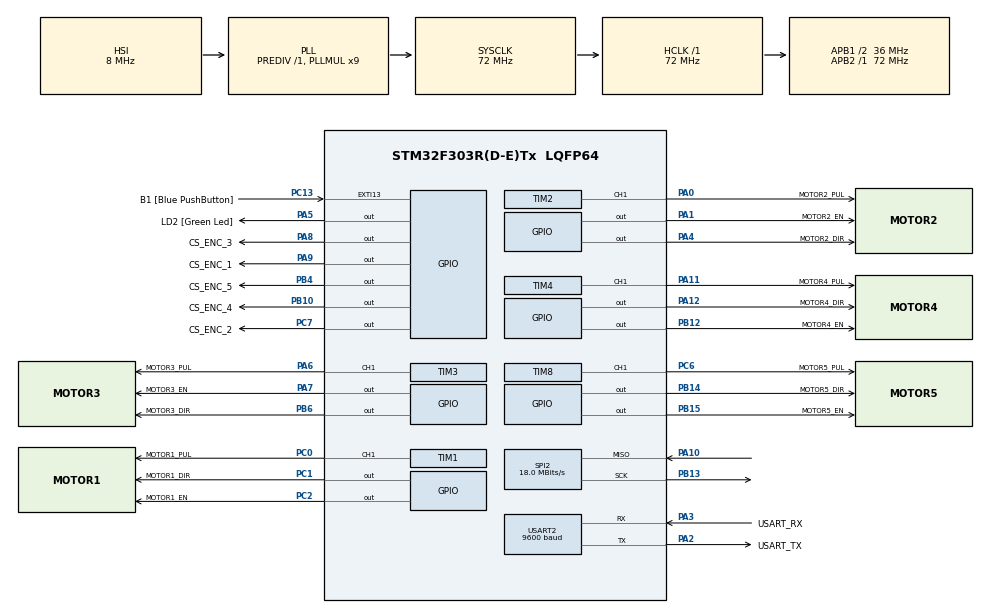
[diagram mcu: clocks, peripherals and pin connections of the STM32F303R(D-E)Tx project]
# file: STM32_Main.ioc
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Mcu.Family=STM32F3
Mcu.Name=STM32F303R(D-E)Tx
Mcu.Package=LQFP64
NVIC.PriorityGroup=NVIC_PRIORITYGROUP_0
NVIC.SPI2_IRQn=true\:0\:0\:false\:false\:true\:true\:true\:true
NVIC.TIM1_CC_IRQn=true\:0\:0\:false\:false\:true\:true\:true\:true
NVIC.TIM2_IRQn=true\:0\:0\:false\:false\:true\:true\:true\:true
NVIC.TIM3_IRQn=true\:0\:0\:false\:false\:true\:true\:true\:true
NVIC.TIM4_IRQn=true\:0\:0\:false\:false\:true\:true\:true\:true
NVIC.TIM8_CC_IRQn=true\:0\:0\:false\:false\:true\:true\:true\:true
NVIC.USART2_IRQn=true\:0\:0\:false\:false\:true\:true\:true\:true
PA0.GPIO_Label=MOTOR2_PUL
PA0.Signal=S_TIM2_CH1_ETR
PA1.GPIO_Label=MOTOR2_EN
PA1.Signal=GPIO_Output
PA10.Mode=RX_Only_Simplex_Unidirect_Master
PA10.Signal=SPI2_MISO
PA11.GPIO_Label=MOTOR4_PUL
PA11.Signal=S_TIM4_CH1
PA12.GPIO_Label=MOTOR4_DIR
PA12.Signal=GPIO_Output
PA14.GPIO_Label=TCK
PA14.Signal=SYS_JTCK-SWCLK
PA2.GPIO_Label=USART_TX
PA2.GPIO_Mode=GPIO_MODE_AF_PP
PA2.GPIO_PuPd=GPIO_NOPULL
PA2.GPIO_Speed=GPIO_SPEED_FREQ_LOW
PA2.Mode=Asynchronous
PA2.Signal=USART2_TX
PA3.GPIO_Label=USART_RX
PA3.GPIO_Mode=GPIO_MODE_AF_PP
PA3.GPIO_PuPd=GPIO_NOPULL
PA3.GPIO_Speed=GPIO_SPEED_FREQ_LOW
PA3.Mode=Asynchronous
PA3.Signal=USART2_RX
PA4.GPIO_Label=MOTOR2_DIR
PA4.Signal=GPIO_Output
PA5.GPIO_Label=LD2 [Green Led]
PA5.GPIO_PuPd=GPIO_NOPULL
PA5.GPIO_Speed=GPIO_SPEED_FREQ_LOW
PA5.Signal=GPIO_Output
PA6.GPIO_Label=MOTOR3_PUL
PA6.Signal=S_TIM3_CH1
PA7.GPIO_Label=MOTOR3_EN
PA7.Signal=GPIO_Output
PA8.GPIO_Label=CS_ENC_3
PA8.Signal=GPIO_Output
PA9.GPIO_Label=CS_ENC_1
PA9.Signal=GPIO_Output
PB10.GPIO_Label=CS_ENC_4
PB10.Signal=GPIO_Output
PB12.GPIO_Label=MOTOR4_EN
PB12.Signal=GPIO_Output
PB13.Mode=RX_Only_Simplex_Unidirect_Master
PB13.Signal=SPI2_SCK
PB14.GPIO_Label=MOTOR5_DIR
PB14.Signal=GPIO_Output
PB15.GPIO_Label=MOTOR5_EN
PB15.Signal=GPIO_Output
PB3.GPIO_Label=SWO
PB3.Signal=SYS_JTDO-TRACESWO
PB4.GPIO_Label=CS_ENC_5
PB4.Signal=GPIO_Output
PB6.GPIO_Label=MOTOR3_DIR
PB6.Signal=GPIO_Output
PC0.GPIO_Label=MOTOR1_PUL
PC0.Signal=S_TIM1_CH1
PC1.GPIO_Label=MOTOR1_DIR
PC1.Signal=GPIO_Output
PC13.GPIO_Label=B1 [Blue PushButton]
PC13.GPIO_ModeDefaultEXTI=GPIO_MODE_IT_FALLING
PC13.Signal=GPXTI13
PC14-OSC32_IN.Mode=LSE-External-Oscillator
PC14-OSC32_IN.Signal=RCC_OSC32_IN
PC15-OSC32_OUT.Mode=LSE-External-Oscillator
PC15-OSC32_OUT.Signal=RCC_OSC32_OUT
PC2.GPIO_Label=MOTOR1_EN
PC2.Signal=GPIO_Output
PC6.GPIO_Label=MOTOR5_PUL
PC6.Signal=S_TIM8_CH1
PC7.GPIO_Label=CS_ENC_2
PC7.Signal=GPIO_Output
PF0-OSC_IN.Mode=HSE-External-Clock-Source
PF0-OSC_IN.Signal=RCC_OSC_IN
PF1-OSC_OUT.Signal=RCC_OSC_OUT
ProjectManager.HeapSize=0x200
ProjectManager.StackSize=0x400
ProjectManager.TargetToolchain=STM32CubeIDE
RCC.AHBFreq_Value=72000000
RCC.APB1CLKDivider=RCC_HCLK_DIV2
RCC.APB1Freq_Value=36000000
RCC.APB1TimFreq_Value=72000000
RCC.APB2Freq_Value=72000000
RCC.APB2TimFreq_Value=72000000
RCC.CortexFreq_Value=72000000
RCC.HCLKFreq_Value=72000000
RCC.HSE_VALUE=8000000
RCC.HSI_VALUE=8000000
RCC.PLLM=8
RCC.PLLMUL=RCC_PLL_MUL9
RCC.PLLN=336
RCC.PLLP=RCC_PLLP_DIV4
RCC.PLLQ=7
RCC.RCC_PLLsource_Clock_Source_FROM_HSE=RCC_HSE_PREDIV_DIV2
RCC.SYSCLKFreq_VALUE=72000000
RCC.SYSCLKSourceVirtual=RCC_SYSCLKSOURCE_PLLCLK
RCC.USBFreq_Value=72000000
SH.S_TIM1_CH1.0=TIM1_CH1,PWM Generation1 CH1
SH.S_TIM2_CH1_ETR.0=TIM2_CH1,PWM Generation1 CH1
SH.S_TIM3_CH1.0=TIM3_CH1,PWM Generation1 CH1
SH.S_TIM4_CH1.0=TIM4_CH1,PWM Generation1 CH1
SH.S_TIM8_CH1.0=TIM8_CH1,PWM Generation1 CH1
SPI2.CalculateBaudRate=18.0 MBits/s
SPI2.DataSize=SPI_DATASIZE_16BIT
SPI2.Direction=SPI_DIRECTION_2LINES_RXONLY
SPI2.Mode=SPI_MODE_MASTER
SPI2.VirtualType=VM_MASTER
TIM1.AutoReloadPreload=TIM_AUTORELOAD_PRELOAD_ENABLE
TIM1.Channel-PWM\ Generation1\ CH1=TIM_CHANNEL_1
TIM1.OCIdleState_1=TIM_OCIDLESTATE_RESET
TIM1.OCPolarity_1=TIM_OCPOLARITY_HIGH
TIM1.Period=150
TIM1.Prescaler=4
TIM1.Pulse-PWM\ Generation1\ CH1=75
TIM2.AutoReloadPreload=TIM_AUTORELOAD_PRELOAD_ENABLE
TIM2.Channel-PWM\ Generation1\ CH1=TIM_CHANNEL_1
TIM2.Period=150
TIM2.Prescaler=480-1
TIM2.Pulse-PWM\ Generation1\ CH1=75
TIM3.AutoReloadPreload=TIM_AUTORELOAD_PRELOAD_ENABLE
TIM3.Channel-PWM\ Generation1\ CH1=TIM_CHANNEL_1
TIM3.Period=150
TIM3.Prescaler=0
TIM3.Pulse-PWM\ Generation1\ CH1=75
TIM4.AutoReloadPreload=TIM_AUTORELOAD_PRELOAD_ENABLE
TIM4.Channel-PWM\ Generation1\ CH1=TIM_CHANNEL_1
TIM4.Period=150
TIM4.Prescaler=0
TIM4.Pulse-PWM\ Generation1\ CH1=75
TIM8.AutoReloadPreload=TIM_AUTORELOAD_PRELOAD_ENABLE
TIM8.Channel-PWM\ Generation1\ CH1=TIM_CHANNEL_1
TIM8.OCIdleState_1=TIM_OCIDLESTATE_SET
TIM8.Period=150
TIM8.Prescaler=0
TIM8.Pulse-PWM\ Generation1\ CH1=75
USART2.BaudRate=9600
USART2.VirtualMode-Asynchronous=VM_ASYNC
VP_TIM1_VS_ClockSourceINT.Mode=Internal
VP_TIM2_VS_ClockSourceINT.Mode=Internal
VP_TIM3_VS_ClockSourceINT.Mode=Internal
VP_TIM4_VS_ClockSourceINT.Mode=Internal
VP_TIM8_VS_ClockSourceINT.Mode=Internal
board=NUCLEO-F303RE

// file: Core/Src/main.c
/* USER CODE BEGIN Header */
/**
  ******************************************************************************
  * @file           : main.c
  * @brief          : Main program body
  ******************************************************************************
  * @attention
  *
  * Copyright (c) 2024 STMicroelectronics.
  * All rights reserved.
  *
  * This software is licensed under terms that can be found in the LICENSE file
  * in the root directory of this software component.
  * If no LICENSE file comes with this software, it is provided AS-IS.
  *
  ******************************************************************************
  */
/* USER CODE END Header */
#include "main.h"
#include "spi.h"
#include "tim.h"
#include "usart.h"
#include "gpio.h"

/* USER CODE BEGIN Includes */
#include "motors.h"
#include "variables.h"
#include <string.h>
#include <stdio.h>
#include <stdlib.h>

/* USER CODE END Includes */

void SystemClock_Config(void);

int main(void)
{

  /* MCU Configuration--------------------------------------------------------*/

  /* Reset of all peripherals, Initializes the Flash interface and the Systick. */
  HAL_Init();

  /* Configure the system clock */
  SystemClock_Config();

  /* Initialize all configured peripherals */
  MX_GPIO_Init();
  MX_USART2_UART_Init();
  MX_TIM3_Init();
  MX_TIM1_Init();
  MX_TIM2_Init();
  MX_TIM4_Init();
  MX_TIM8_Init();
  MX_SPI2_Init();
  /* USER CODE BEGIN 2 */

  USART_init();
  SPI_init();
  /* USER CODE END 2 */

  /* Infinite loop */
  while (1)
  {

    /* USER CODE BEGIN 3 */
	  MOTOR_main();
	  SPI_read_all();
	    for (int i = 0; i < sizeof(encoder) / sizeof(encoder_st); i++) {
	      encoder_st* encoder = &encoders[i];
	      uint16_t encoderValue = (encoder->value[0] << 8) | encoder->value[1];

	      if (encoderValue > 100 && encoderValue < 4000) {
	    	  MOTOR_set_one(encoder->motor,0,0);
	      }
	  if (USART_drdy()){
		  USART_reset_drdy();
		  MOTOR_set_all(USART_get_buffer());
	  }

  }
  /* USER CODE END 3 */
}

void SystemClock_Config(void)
{
  RCC_OscInitTypeDef RCC_OscInitStruct = {0};
  RCC_ClkInitTypeDef RCC_ClkInitStruct = {0};
  RCC_PeriphCLKInitTypeDef PeriphClkInit = {0};

  /** Initializes the RCC Oscillators according to the specified parameters
  * in the RCC_OscInitTypeDef structure.
  */
  RCC_OscInitStruct.OscillatorType = RCC_OSCILLATORTYPE_HSI;
  RCC_OscInitStruct.HSIState = RCC_HSI_ON;
  RCC_OscInitStruct.HSICalibrationValue = RCC_HSICALIBRATION_DEFAULT;
  RCC_OscInitStruct.PLL.PLLState = RCC_PLL_ON;
  RCC_OscInitStruct.PLL.PLLSource = RCC_PLLSOURCE_HSI;
  RCC_OscInitStruct.PLL.PLLMUL = RCC_PLL_MUL9;
  RCC_OscInitStruct.PLL.PREDIV = RCC_PREDIV_DIV1;
  if (HAL_RCC_OscConfig(&RCC_OscInitStruct) != HAL_OK)
  {
    Error_Handler();
  }

  /** Initializes the CPU, AHB and APB buses clocks
  */
  RCC_ClkInitStruct.ClockType = RCC_CLOCKTYPE_HCLK|RCC_CLOCKTYPE_SYSCLK
                              |RCC_CLOCKTYPE_PCLK1|RCC_CLOCKTYPE_PCLK2;
  RCC_ClkInitStruct.SYSCLKSource = RCC_SYSCLKSOURCE_PLLCLK;
  RCC_ClkInitStruct.AHBCLKDivider = RCC_SYSCLK_DIV1;
  RCC_ClkInitStruct.APB1CLKDivider = RCC_HCLK_DIV2;
  RCC_ClkInitStruct.APB2CLKDivider = RCC_HCLK_DIV1;

  if (HAL_RCC_ClockConfig(&RCC_ClkInitStruct, FLASH_LATENCY_2) != HAL_OK)
  {
    Error_Handler();
  }
  PeriphClkInit.PeriphClockSelection = RCC_PERIPHCLK_USART2|RCC_PERIPHCLK_TIM1
                              |RCC_PERIPHCLK_TIM8|RCC_PERIPHCLK_TIM2
                              |RCC_PERIPHCLK_TIM34;
  PeriphClkInit.Usart2ClockSelection = RCC_USART2CLKSOURCE_PCLK1;
  PeriphClkInit.Tim1ClockSelection = RCC_TIM1CLK_HCLK;
  PeriphClkInit.Tim8ClockSelection = RCC_TIM8CLK_HCLK;
  PeriphClkInit.Tim2ClockSelection = RCC_TIM2CLK_HCLK;
  PeriphClkInit.Tim34ClockSelection = RCC_TIM34CLK_HCLK;
  if (HAL_RCCEx_PeriphCLKConfig(&PeriphClkInit) != HAL_OK)
  {
    Error_Handler();
  }
}

void Error_Handler(void)
{
  __disable_irq();
  while (1)
  {
  }
}
